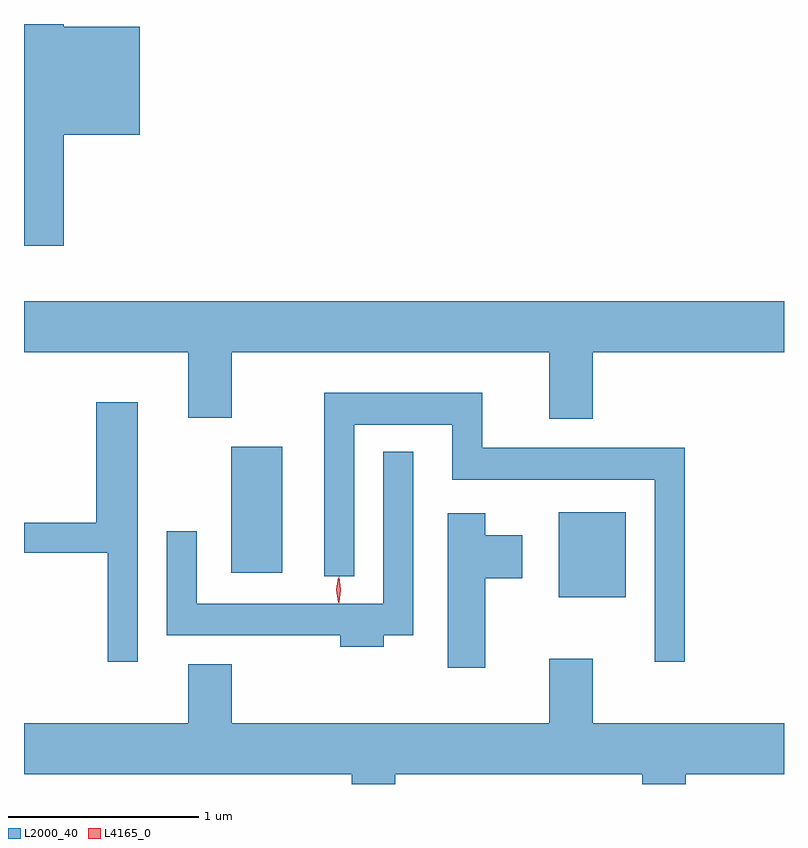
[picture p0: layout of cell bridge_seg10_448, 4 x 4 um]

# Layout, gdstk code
import gdstk
lib = gdstk.Library(unit=1e-6, precision=1e-09)
def R(c, l, rs):  # rectangles x0, y0, x1, y1
    for r in rs: c.add(gdstk.rectangle(r[:2], r[2:], *l))
def P(c, l, *ps):  # polygons
    for p in ps: c.add(gdstk.Polygon(p, *l))
L2000_40 = (2000, 40)
L4165_0 = (4165, 0)

bridge_seg10_448 = lib.new_cell('bridge_seg10_448')
R(bridge_seg10_448, L2000_40, [(1445.761,2139.266,1446.114,2139.714), (1444.036,2139.396,1444.304,2140.059)])
P(bridge_seg10_448, L2000_40, [(1443.154,2141.701),(1443.554,2141.701),(1443.554,2142.269),(1443.154,2142.269),(1443.154,2142.284),(1442.946,2142.284),(1442.946,2141.116),(1443.154,2141.116)],
  [(1445.939,2140.556),(1446.946,2140.556),(1446.946,2140.824),(1442.946,2140.824),(1442.946,2140.556),(1443.811,2140.556),(1443.811,2140.211),(1444.039,2140.211),(1444.039,2140.556),(1445.711,2140.556),(1445.711,2140.206),(1445.939,2140.206)],
  [(1446.424,2140.054),(1445.359,2140.054),(1445.359,2140.344),(1444.526,2140.344),(1444.526,2139.378),(1444.684,2139.378),(1444.684,2140.176),(1445.201,2140.176),(1445.201,2139.886),(1446.266,2139.886),(1446.266,2138.928),(1446.424,2138.928)],
  [(1443.544,2140.294),(1443.326,2140.294),(1443.326,2139.659),(1442.946,2139.659),(1442.946,2139.501),(1443.386,2139.501),(1443.386,2138.928),(1443.544,2138.928)],
  [(1444.839,2139.066),(1444.994,2139.066),(1444.994,2140.033),(1444.836,2140.033),(1444.836,2139.234),(1443.854,2139.234),(1443.854,2139.613),(1443.696,2139.613),(1443.696,2139.066),(1444.611,2139.066),(1444.611,2139.006),(1444.839,2139.006)],
  [(1445.374,2139.366),(1445.569,2139.366),(1445.569,2139.594),(1445.374,2139.594),(1445.374,2139.709),(1445.176,2139.709),(1445.176,2138.896),(1445.374,2138.896)],
  [(1444.899,2138.336),(1446.201,2138.336),(1446.201,2138.284),(1446.429,2138.284),(1446.429,2138.336),(1446.946,2138.336),(1446.946,2138.604),(1445.939,2138.604),(1445.939,2138.944),(1445.711,2138.944),(1445.711,2138.604),(1444.039,2138.604),(1444.039,2138.914),(1443.811,2138.914),(1443.811,2138.604),(1442.946,2138.604),(1442.946,2138.336),(1444.671,2138.336),(1444.671,2138.284),(1444.899,2138.284)])
P(bridge_seg10_448, L4165_0, [(1444.599,2139.24),(1444.599,2139.24),(1444.59,2139.306),(1444.6,2139.372),(1444.6,2139.373),(1444.601,2139.372),(1444.61,2139.306),(1444.6,2139.24)],
  [(1444.603,2139.237),(1444.603,2139.238),(1444.594,2139.307),(1444.604,2139.376),(1444.605,2139.376),(1444.606,2139.376),(1444.614,2139.307),(1444.604,2139.238)])

lib.write_gds('bridge_seg10_448.gds')
